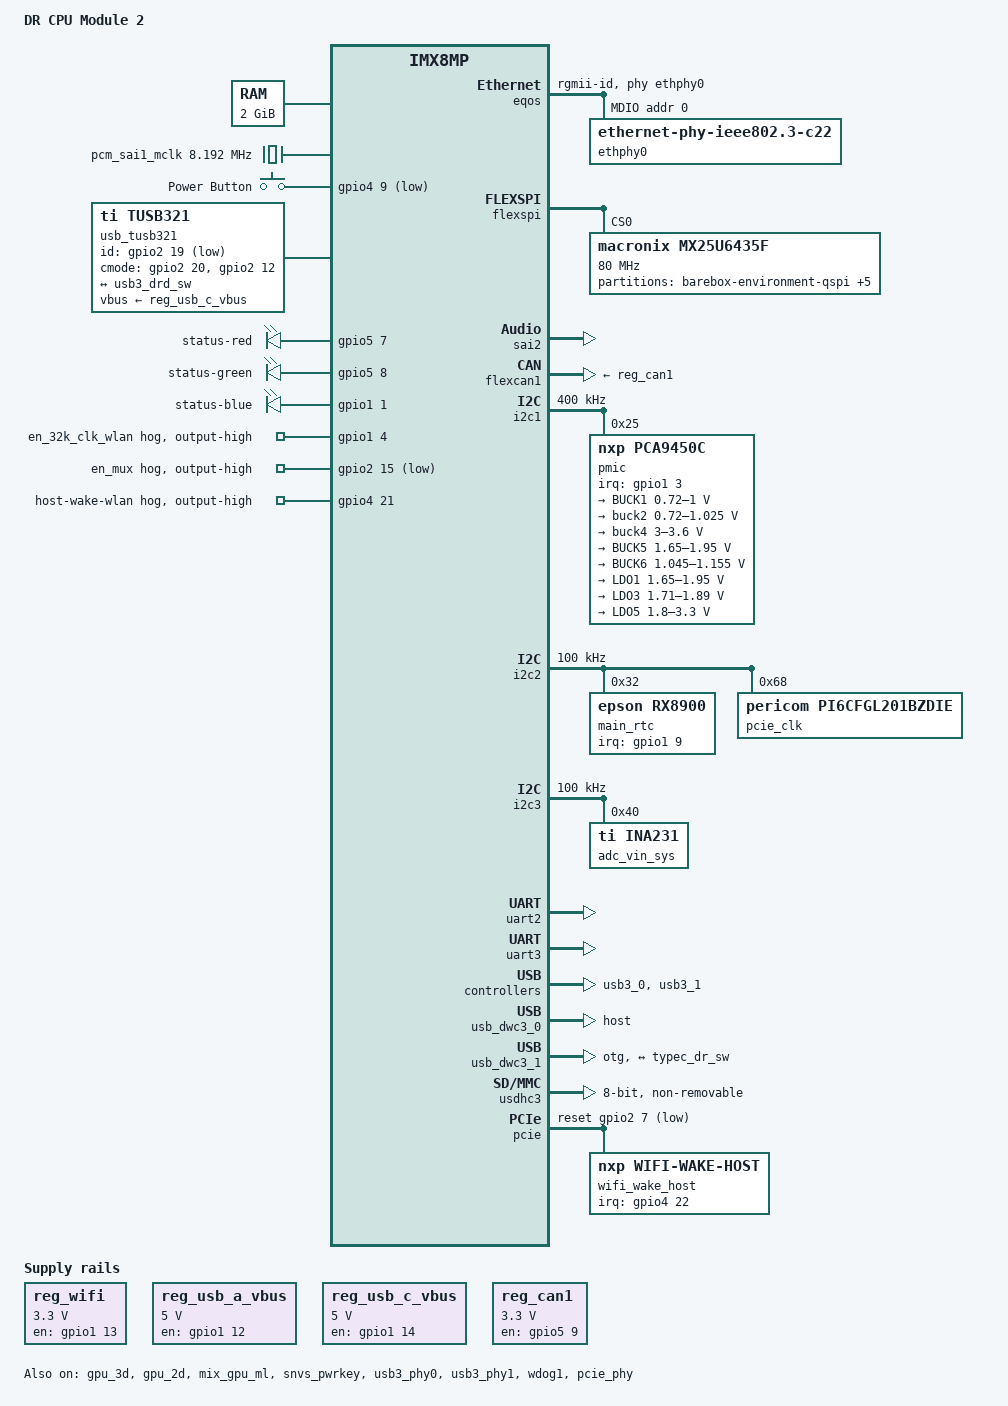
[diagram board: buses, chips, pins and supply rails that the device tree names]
/*
 * Copyright DATA RESPONS AS
 *
 * The code contained herein is licensed under the GNU General Public
 * License. You may obtain a copy of the GNU General Public License
 * Version 2 or later at the following locations:
 *
 * http://www.opensource.org/licenses/gpl-license.html
 * http://www.gnu.org/copyleft/gpl.html
 */
/dts-v1/;

#include <dt-bindings/input/input.h>
#include <dt-bindings/gpio/gpio.h>
#include <dt-bindings/usb/pd.h>
#include "imx8mp.dtsi"

/ {
	model = "DR CPU Module 2";
	compatible = "datarespons,cpum2", "fsl,imx8mp";

	aliases {
		mmc0 = &usdhc3;
		ethernet0 = &eqos;
		rtc0 = &main_rtc;
		rtc1 = &snvs_rtc;
		btserial = "ttymxc2";
	};

	chosen {
		stdout-path = &uart2;
	};

	memory@40000000 {
		device_type = "memory";
		reg = <0x0 0x40000000 0 0x80000000>; 	/* 2 GB DDR */
	};


   clocks {
		wlan_clk: clock@1 {
		#clock-cells = <0>;
            compatible = "fixed-clock";
            clock-output-names = "slp-clk";
            clock-frequency = <32768>;
            gpio = <&gpio1 4 0>; // EN_32KO-RTC
        };

		pcm_sai1_mclk: sai-mclk1 {
			compatible = "fixed-clock";
			#clock-cells = <0>;
			clock-frequency= <8192000>;
			clock-output-names = "sai1_mclk";
		};
	};

	regulators {
		compatible = "simple-bus";
		reg_wifi: wifi_pwr {
			compatible = "regulator-fixed";
			regulator-name = "reg_wifi";
			regulator-min-microvolt = <3300000>;
			regulator-max-microvolt = <3300000>;
			gpio = <&gpio1 13 0>; /* PMIC_EN-WLAN */
			enable-active-high;
			regulator-always-on;
		};

		reg_usb_a_vbus: usb_a_vbus {
			compatible = "regulator-fixed";
			pinctrl-0 = <&pinctrl_usb0_vbus>;
			regulator-name = "reg_usb_a_vbus";
			regulator-min-microvolt = <5000000>;
			regulator-max-microvolt = <5000000>;
			gpio = <&gpio1 12 GPIO_ACTIVE_HIGH>;
			enable-active-high;
			regulator-always-on;
		};

		reg_usb_c_vbus: usb_c_vbus {
			compatible = "regulator-fixed";
			regulator-name = "reg_usb_c_vbus";
			regulator-min-microvolt = <5000000>;
			regulator-max-microvolt = <5000000>;
			gpio = <&gpio1 14 GPIO_ACTIVE_HIGH>; /* EN-USBC_Vbus_5V */
			enable-active-high;
		};

		reg_can1: regulator-can1 {
			compatible = "regulator-fixed";
			regulator-name = "can1-power";
			pinctrl-names = "default";
			regulator-min-microvolt = <3300000>;
			regulator-max-microvolt = <3300000>;
			gpio = <&gpio5 9 GPIO_ACTIVE_HIGH>;
			enable-active-high;
			regulator-always-on;
		};
	};

	gpio-keys {
		compatible = "gpio-keys";
		power {
			label = "Power Button";
			gpios = <&gpio4 9 GPIO_ACTIVE_LOW>;
			linux,code = <KEY_POWER>; /* KEY_POWER */
			gpio-key,wakeup;
		};
	};

	usb_tusb321 {
		compatible = "ti,tusb321";
		pinctrl-names = "default";
		pinctrl-0 = <&pinctrl_tusb321>, <&pinctrl_typec_mux>;
		id-gpio = <&gpio2 19 GPIO_ACTIVE_LOW>;
		cmode-gpios = <&gpio2 20 GPIO_ACTIVE_HIGH>, <&gpio2 12 GPIO_ACTIVE_HIGH>;
		vbus-supply = <&reg_usb_c_vbus>;

		port {
			typec_dr_sw: endpoint {
				remote-endpoint = <&usb3_drd_sw>;
			};
		};
	};

	leds {
		compatible = "gpio-leds";
		pinctrl-0 = <&pinctrl_gpio_led>;
		pinctrl-names = "default";
		status-red {
			gpios = <&gpio5 7 GPIO_ACTIVE_HIGH>;
			default-state = "off";
		};

		status-green {
			gpios = <&gpio5 8 GPIO_ACTIVE_HIGH>;
			default-state = "on";
			linux,default-trigger = "timer";
		};

		status-blue {
			gpios = <&gpio1 1 GPIO_ACTIVE_HIGH>;
			default-state = "off";
		};
	};
};

&A53_0 {
	cpu-supply = <&buck2>;
};

&A53_1 {
	cpu-supply = <&buck2>;
};

&A53_2 {
	cpu-supply = <&buck2>;
};

&A53_3 {
	cpu-supply = <&buck2>;
};

&gpu_3d {
	status = "okay";
};

&gpu_2d {
	status = "okay";
};

&mix_gpu_ml {
	status = "okay";
};

&snvs_pwrkey {
	status = "okay";
};

&gpio1 {
	gpio-line-names = "", "", "", "", "en-slow-clk-wlan", "", "", "",
						"can1-sdn", "", "", "", "", "pmic-enable-wlan", "", "can1-stb";

	en_32k_clk_wlan {
		gpio-hog;
		gpios = <4 GPIO_ACTIVE_HIGH>;
		output-high;
	};
};

&gpio2 {
	en_mux {
		gpio-hog;
		gpios = <15 GPIO_ACTIVE_LOW>;
		output-high;
	};
};

&gpio3 {
	gpio-line-names = "", "", "", "", "", "", "", "",
						"spinor-wp", "", "", "", "", "", "", "";
};

&gpio4 {
	gpio-line-names = "", "", "", "", "", "", "", "",
						"", "", "", "", "", "", "", "",
						"", "hwrev0", "hwrev1", "hwrev2", "", "host-wake-wlan", "wlan-wake-host", "",
						"", "", "", "", "", "", "", "";

	host-wake-wlan {
		gpio-hog;
		gpios = <21 GPIO_ACTIVE_HIGH>;
		output-high;
	};
};

&gpio5 {
	gpio-line-names = "", "", "", "bt-wake-host", "host-wake-bt", "", "", "",
						"", "can-vbus", "", "", "", "", "", "",
						"", "", "", "", "pcie-clkreqn", "", "", "";
};


&eqos {
	pinctrl-names = "default";
	pinctrl-0 = <&pinctrl_eqos>;
	phy-mode = "rgmii-id";
	phy-handle = <&ethphy0>;
	snps,force_thresh_dma_mode;
	status = "okay";
	snps,reset-gpios = <&gpio2 14 GPIO_ACTIVE_LOW>; /* ETHPHY_nRST */
	snps,reset-delays-us = <0 10000 30000>;

	mdio {
		compatible = "snps,dwmac-mdio";
		#address-cells = <1>;
		#size-cells = <0>;

		ethphy0: ethernet-phy@0 {
			compatible = "ethernet-phy-ieee802.3-c22";
			max-speed = <100>;
			reg = <0>;
		};
	};
};

&flexspi {
	pinctrl-names = "default";
	pinctrl-0 = <&pinctrl_flexspi0>;
	status = "okay";

	mx25u6435f: flash@0 { /* MX25U6432FM2I02 (64 Mbit) */
		reg = <0>;
		#address-cells = <1>;
		#size-cells = <1>;
		compatible = "macronix,mx25u6435f", "jedec,spi-nor";
		spi-max-frequency = <80000000>;
		spi-tx-bus-width = <1>;
		spi-rx-bus-width = <4>;
		spi-nor,ddr-quad-read-dummy = <6>;

	};
};

&mx25u6435f {
	partitions {
		compatible = "fixed-partitions";
		#address-cells = <1>;
		#size-cells = <1>;

		partition@0 {
			label = "barebox-environment-qspi";
			reg = <0x0 0x40000>;
		};

		backend_state_qspi: state@40000 {
			label = "barebox-state";
			reg = <0x40000 0xc0000>;
		};

		partition@100000 {
			label = "system_a";
			reg = <0x100000 0x40000>;
		};
		partition@140000 {
			label = "system_b";
			reg = <0x140000 0x40000>;
		};

		partition@180000 {
			label = "user_a";
			reg = <0x180000 0x40000>;
		};
		partition@1c0000 {
			label = "user_b";
			reg = <0x1c0000 0x40000>;
		};
	};
};

&sai2 {
	#sound-dai-cells = <0>;
	pinctrl-names = "default";
	pinctrl-0 = <&pinctrl_sai2>;
	assigned-clocks = <&clk IMX8MP_CLK_SAI2>;
	assigned-clock-parents = <&clk IMX8MP_AUDIO_PLL1_OUT>;
	assigned-clock-rates = <12288000>;
	status = "okay";
};

&flexcan1 {
	pinctrl-names = "default";
	pinctrl-0 = <&pinctrl_flexcan1>;
	xceiver-supply = <&reg_can1>;
	status = "okay";
	termination-gpios = <&gpio1 7 GPIO_ACTIVE_HIGH>;
    termination-ohms = <60>;
};

&i2c1 { /* PMIC PCA9450CHNY */
	clock-frequency = <400000>;
	pinctrl-names = "default";
	pinctrl-0 = <&pinctrl_i2c1>;
	status = "okay";

	pmic: pca9450@25 {
		compatible = "nxp,pca9450c";
		reg = <0x25>;
		pinctrl-names = "default";
		pinctrl-0 = <&pinctrl_pmic>;
		interrupt-parent = <&gpio1>;
		interrupts = <3 IRQ_TYPE_LEVEL_LOW>;

		regulators {
			BUCK1 {
				regulator-name = "BUCK1";
				regulator-min-microvolt = <720000>;
				regulator-max-microvolt = <1000000>;
				regulator-boot-on;
				regulator-always-on;
				regulator-ramp-delay = <3125>;
			};

			buck2: BUCK2 {
				regulator-name = "BUCK2";
				regulator-min-microvolt = <720000>;
				regulator-max-microvolt = <1025000>;
				regulator-boot-on;
				regulator-always-on;
				regulator-ramp-delay = <3125>;
				nxp,dvs-run-voltage = <950000>;
				nxp,dvs-standby-voltage = <850000>;
			};

			buck4: BUCK4 {
				regulator-name = "BUCK4";
				regulator-min-microvolt = <3000000>;
				regulator-max-microvolt = <3600000>;
				regulator-boot-on;
				regulator-always-on;
			};

			BUCK5 {
				regulator-name = "BUCK5";
				regulator-min-microvolt = <1650000>;
				regulator-max-microvolt = <1950000>;
				regulator-boot-on;
				regulator-always-on;
			};

			BUCK6 {
				regulator-name = "BUCK6";
				regulator-min-microvolt = <1045000>;
				regulator-max-microvolt = <1155000>;
				regulator-boot-on;
				regulator-always-on;
			};

			LDO1 {
				regulator-name = "LDO1";
				regulator-min-microvolt = <1650000>;
				regulator-max-microvolt = <1950000>;
				regulator-boot-on;
				regulator-always-on;
			};

			LDO3 {
				regulator-name = "LDO3";
				regulator-min-microvolt = <1710000>;
				regulator-max-microvolt = <1890000>;
				regulator-boot-on;
				regulator-always-on;
			};

			LDO5 {
				regulator-name = "LDO5";
				regulator-min-microvolt = <1800000>;
				regulator-max-microvolt = <3300000>;
				regulator-boot-on;
				regulator-always-on;
			};
		};
	};
};

&i2c2 {
	clock-frequency = <100000>;
	pinctrl-names = "default";
	pinctrl-0 = <&pinctrl_i2c2>;
	status = "okay";

	main_rtc: rtc-rx8900@32 {
		compatible = "epson,rx8900";
		reg = <0x32>;
		interrupt-parent = <&gpio1>;
		interrupts = <9 IRQ_TYPE_LEVEL_LOW>;
	};

	pcie_clk: pi6cfgl201bzdie@68 {
		compatible = "pericom,pi6cfgl201bzdie";
		reg = <0x68>;
	};
};

&i2c3 {
	clock-frequency = <100000>;
	pinctrl-names = "default";
	pinctrl-0 = <&pinctrl_i2c3>;
	status = "okay";

	adc_vin_sys: ina231@40 {
		compatible = "ti,ina231";
		reg = <0x40>;
		shunt-resistor = <10000>;  // TODO: Find value
	};
};

&uart2 {
	pinctrl-names = "default";
	pinctrl-0 = <&pinctrl_uart2>;
	status = "okay";
};

&uart3 {
	pinctrl-names = "default";
	pinctrl-0 = <&pinctrl_uart3>;
	assigned-clocks = <&clk IMX8MP_CLK_UART3>;
	assigned-clock-parents = <&clk IMX8MP_SYS_PLL1_80M>;
	fsl,uart-has-rtscts;
	status = "okay";
};

/* USB A */
&usb3_phy0 {
	vbus-supply = <&reg_usb_a_vbus>;
	status = "okay";
};

&usb3_0 {
	status = "okay";
};

&usb_dwc3_0 {
	dr_mode = "host";
	hnp-disable;
	srp-disable;
	adp-disable;
	snps,dis-u1-entry-quirk;
	snps,dis-u2-entry-quirk;
	status = "okay";
};

/* USB-C */
&usb3_phy1 {
	fsl,phy-tx-vref-tune = <0xe>;
	fsl,phy-tx-preemp-amp-tune = <3>;
	fsl,phy-tx-vboost-level = <5>;
	fsl,phy-comp-dis-tune = <7>;
	fsl,pcs-tx-deemph-3p5db = <0x21>;
	fsl,phy-pcs-tx-swing-full = <0x7f>;
	status = "okay";
};

&usb3_1 {
	status = "okay";
};

&usb_dwc3_1 {
	dr_mode = "otg";
	hnp-disable;
	srp-disable;
	adp-disable;
	usb-role-switch;
	role-switch-default-mode = "device";
	snps,dis-u1-entry-quirk;
	snps,dis-u2-entry-quirk;
	status = "okay";

	port {
		usb3_drd_sw: endpoint {
			remote-endpoint = <&typec_dr_sw>;
		};
	};
};


&usdhc2 {
	status = "disabled";
};

&usdhc3 {
	assigned-clocks = <&clk IMX8MP_CLK_USDHC3>;
	assigned-clock-rates = <400000000>;
	pinctrl-names = "default", "state_100mhz", "state_200mhz";
	pinctrl-0 = <&pinctrl_usdhc3>;
	pinctrl-1 = <&pinctrl_usdhc3_100mhz>;
	pinctrl-2 = <&pinctrl_usdhc3_200mhz>;
	bus-width = <8>;
	non-removable;
	status = "okay";
};

&usdhc3 {
	partitions {
		compatible = "fixed-partitions";
		#size-cells = <1>;
		#address-cells = <1>;

		partition@0 {
			label = "barebox";
			reg = <0x0 0xe0000>;
		};

		partition@e0000 {
			label = "barebox-environment";
			reg = <0xe0000 0x20000>;
		};

		backend_state_usdhc: partition@100000 {
			reg = <0x100000 0x100000>;
			label = "state-emmc";
		};
	};
};

&wdog1 {
	pinctrl-names = "default";
	pinctrl-0 = <&pinctrl_wdog>;
	fsl,ext-reset-output;
	status = "okay";
};


&pcie {
	pinctrl-names = "default";
	pinctrl-0 = <&pinctrl_pcie0 &pinctrl_wifi1>;
	disable-gpio = <&gpio2 6 GPIO_ACTIVE_LOW>;
	reset-gpio = <&gpio2 7 GPIO_ACTIVE_LOW>;
	wake-gpio = <&gpio5 21 GPIO_ACTIVE_LOW>;
	ext_osc = <1>;
	clkreq-gpio = <&gpio5 20 GPIO_ACTIVE_LOW>;
	clocks = <&clk IMX8MP_CLK_HSIO_ROOT>,
		 <&clk IMX8MP_CLK_PCIE_AUX>,
		 <&clk IMX8MP_CLK_HSIO_AXI>,
		 <&clk IMX8MP_CLK_PCIE_ROOT>;
	clock-names = "pcie", "pcie_aux", "pcie_phy", "pcie_bus";
	assigned-clocks = <&clk IMX8MP_CLK_HSIO_AXI>,
			  <&clk IMX8MP_CLK_PCIE_AUX>;
	assigned-clock-rates = <500000000>, <10000000>;
	assigned-clock-parents = <&clk IMX8MP_SYS_PLL2_500M>,
				 <&clk IMX8MP_SYS_PLL2_50M>;
	l1ss-disabled;
	status = "okay";

	wifi_wake_host {
		compatible = "nxp,wifi-wake-host";
		interrupt-parent = <&gpio4>;
		interrupts = <22 IRQ_TYPE_LEVEL_LOW>;
		interrupt-names = "host-wake";
	};
};

&pcie_phy{
	ext_osc = <1>;
	status = "okay";
};

/* PAD defs for IMX8MP
BIT8: PULL Enable=1
BIT7: HYS Shmitt=1
BIT6: PUE Down=0, Up=1
BIT5: ODE
BIT4: SLEW Fast=1
BIT2:1 STRENGTH x1,x2,x4,x6
*/

&iomuxc {
	pinctrl-names = "default";
	pinctrl-0 = <&pinctrl_hog>;

	pinctrl_hog: hoggrp {
		fsl,pins = <
			MX8MP_IOMUXC_GPIO1_IO04__GPIO1_IO04			0x142		/* EN_32KO-RTC (WLAN SLP_CLK-WLAN)*/
			MX8MP_IOMUXC_GPIO1_IO09__GPIO1_IO09			0x1c0		/* nINT-RTC_A */
			MX8MP_IOMUXC_GPIO1_IO13__GPIO1_IO13			0x106		/* PMIC_EN-WLAN */
			MX8MP_IOMUXC_GPIO1_IO14__GPIO1_IO14			0x106		/* EN-USBC_Vbus_5V */

			MX8MP_IOMUXC_ECSPI1_SS0__GPIO5_IO09         0x106		/* EN-VBUS_CAN */

			MX8MP_IOMUXC_SAI1_RXD6__GPIO4_IO08			0x080		/* DC_IN_nFLG_R */
			MX8MP_IOMUXC_SAI1_RXD7__GPIO4_IO09			0x180		/* Key_nPOWER */
			MX8MP_IOMUXC_SAI1_TXD5__GPIO4_IO17			0x00		/* HW_Setting_0 */
			MX8MP_IOMUXC_SAI1_TXD6__GPIO4_IO18			0x00		/* HW_Setting_1 */
			MX8MP_IOMUXC_SAI1_TXD7__GPIO4_IO19			0x00		/* HW_Setting_2 */

			MX8MP_IOMUXC_SAI5_RXD3__GPIO3_IO24			0x106		/* EN_PWR-ENET_A */
			MX8MP_IOMUXC_SD2_DATA3__GPIO2_IO18			0x080		/* VCONN_nFAULT */

			MX8MP_IOMUXC_SPDIF_RX__GPIO5_IO04			0x142		/* HOST_WAKEUP_BT, PU */
			MX8MP_IOMUXC_SPDIF_TX__GPIO5_IO03			0x180		/* BT_WAKEUP_HOST, PD */
		>;
	};

	pinctrl_tusb321: tusb321grp {
		fsl,pins = <
			MX8MP_IOMUXC_SD2_RESET_B__GPIO2_IO19		0x00 		/* OTG_ID */
			MX8MP_IOMUXC_SD2_WP__GPIO2_IO20				0x80		/* OUT1 */
			MX8MP_IOMUXC_SD2_CD_B__GPIO2_IO12			0x80		/* OUT2 */
		>;
	};

	pinctrl_eqos: eqosgrp {
		fsl,pins = <
			MX8MP_IOMUXC_ENET_MDC__ENET_QOS_MDC					0x3
			MX8MP_IOMUXC_ENET_MDIO__ENET_QOS_MDIO				0x3
			MX8MP_IOMUXC_ENET_RD0__ENET_QOS_RGMII_RD0			0x91
			MX8MP_IOMUXC_ENET_RD1__ENET_QOS_RGMII_RD1			0x91
			MX8MP_IOMUXC_ENET_RD2__ENET_QOS_RGMII_RD2			0x91
			MX8MP_IOMUXC_ENET_RD3__ENET_QOS_RGMII_RD3			0x91
			MX8MP_IOMUXC_ENET_RXC__CCM_ENET_QOS_CLOCK_GENERATE_RX_CLK	0x91
			MX8MP_IOMUXC_ENET_RX_CTL__ENET_QOS_RGMII_RX_CTL		0x91
			MX8MP_IOMUXC_ENET_TD0__ENET_QOS_RGMII_TD0			0x1f
			MX8MP_IOMUXC_ENET_TD1__ENET_QOS_RGMII_TD1			0x1f
			MX8MP_IOMUXC_ENET_TD2__ENET_QOS_RGMII_TD2			0x1f
			MX8MP_IOMUXC_ENET_TD3__ENET_QOS_RGMII_TD3			0x1f
			MX8MP_IOMUXC_ENET_TX_CTL__ENET_QOS_RGMII_TX_CTL		0x1f
			MX8MP_IOMUXC_ENET_TXC__CCM_ENET_QOS_CLOCK_GENERATE_TX_CLK	0x1f
			MX8MP_IOMUXC_SD2_CLK__GPIO2_IO13 					0x002 	/*nINT_ENET_A*/
			MX8MP_IOMUXC_SD2_CMD__GPIO2_IO14					0x002 	/*ETHPHY_nRST*/
		>;
	};

	pinctrl_pcie0: pcie0grp {
		fsl,pins = <
			MX8MP_IOMUXC_SD1_DATA5__GPIO2_IO07			0x1c4	   	/* PCIE_PERST */
			MX8MP_IOMUXC_SD1_DATA4__GPIO2_IO06			0x1c4	   	/* W_DISABLE */
			MX8MP_IOMUXC_I2C4_SDA__GPIO5_IO21			0x1c0 		/* PCIE_WAKE_N */
			MX8MP_IOMUXC_I2C4_SCL__GPIO5_IO20			0x1c0 		/* PCIE_CLKREQ_N */
		>;
	};

	pinctrl_typec_mux: typec1muxgrp {
		fsl,pins = <
			MX8MP_IOMUXC_SD2_DATA0__GPIO2_IO15	0x101	/* EN-USB3C_MUX */
			MX8MP_IOMUXC_SD2_DATA1__GPIO2_IO16	0x140	/* SS_SEL-USB3c_MUX, tied with DIR-TypeC_CC */
			MX8MP_IOMUXC_SD2_DATA2__GPIO2_IO17	0x140	/* Tied with DIR-TypeC_CC */
		>;
	};
	pinctrl_wifi1: wifi1grp {
		fsl,pins = <
			MX8MP_IOMUXC_SAI2_RXFS__GPIO4_IO21		0x142	/* HOST_WAKEUP_WLAN */
			MX8MP_IOMUXC_SAI2_RXC__GPIO4_IO22		0x1C0	/* WLAN_WAKEUP_HOST */
		>;
	};

	pinctrl_i2c1: i2c1grp {
		fsl,pins = <
			MX8MP_IOMUXC_I2C1_SCL__I2C1_SCL		0x400001c2
			MX8MP_IOMUXC_I2C1_SDA__I2C1_SDA		0x400001c2
		>;
	};

	pinctrl_i2c2: i2c2grp {
		fsl,pins = <
			MX8MP_IOMUXC_I2C2_SCL__I2C2_SCL		0x400001c2
			MX8MP_IOMUXC_I2C2_SDA__I2C2_SDA		0x400001c2
		>;
	};

	pinctrl_i2c3: i2c3grp {
		fsl,pins = <
			MX8MP_IOMUXC_I2C3_SCL__I2C3_SCL		0x400001c2
			MX8MP_IOMUXC_I2C3_SDA__I2C3_SDA		0x400001c2
		>;
	};

	pinctrl_pmic: pmicgrp {
		fsl,pins = <
			MX8MP_IOMUXC_GPIO1_IO03__GPIO1_IO03	0x000001c0
		>;
	};

	pinctrl_uart2: uart2grp {
		fsl,pins = <
			MX8MP_IOMUXC_UART2_RXD__UART2_DCE_RX	0x102
			MX8MP_IOMUXC_UART2_TXD__UART2_DCE_TX	0x102
		>;
	};

	/* UART BT */
	pinctrl_uart3: uart3grp {
		fsl,pins = <
			MX8MP_IOMUXC_SD1_DATA6__UART3_DCE_TX		0x16
			MX8MP_IOMUXC_SD1_DATA7__UART3_DCE_RX		0x16
			MX8MP_IOMUXC_SD1_RESET_B__UART3_DCE_RTS		0x16
			MX8MP_IOMUXC_SD1_STROBE__UART3_DCE_CTS		0x16
		>;
	};

	pinctrl_usb0_vbus: usba-vbusgrp {
		fsl,pins = <
			MX8MP_IOMUXC_GPIO1_IO12__USB1_PWR		0x106 /*EN-USBA_Vbus_5V*/
		>;
	};

	pinctrl_usdhc3: usdhc3grp { /* EMMC eMMC16G-TB28-A20 */
		fsl,pins = <
			MX8MP_IOMUXC_NAND_WE_B__USDHC3_CLK		0x192 /*SD3_CLK*/
			MX8MP_IOMUXC_NAND_WP_B__USDHC3_CMD		0x1d2 /*SD3_CMD*/
			MX8MP_IOMUXC_NAND_DATA04__USDHC3_DATA0	0x1d2 /*SD3_DATA0*/
			MX8MP_IOMUXC_NAND_DATA05__USDHC3_DATA1	0x1d2 /*SD3_DATA1*/
			MX8MP_IOMUXC_NAND_DATA06__USDHC3_DATA2	0x1d2 /*SD3_DATA2*/
			MX8MP_IOMUXC_NAND_DATA07__USDHC3_DATA3	0x1d2 /*SD3_DATA3*/
			MX8MP_IOMUXC_NAND_RE_B__USDHC3_DATA4	0x1d2 /*SD3_DATA4*/
			MX8MP_IOMUXC_NAND_CE2_B__USDHC3_DATA5	0x1d2 /*SD3_DATA5*/
			MX8MP_IOMUXC_NAND_CE3_B__USDHC3_DATA6	0x1d2 /*SD3_DATA6*/
			MX8MP_IOMUXC_NAND_CLE__USDHC3_DATA7		0x1d2 /*SD3_DATA7*/
			MX8MP_IOMUXC_NAND_CE1_B__USDHC3_STROBE	0x192 /* SD3_STROBE*/
		>;
	};

	pinctrl_usdhc3_100mhz: usdhc3-100mhzgrp {
		fsl,pins = <
			MX8MP_IOMUXC_NAND_WE_B__USDHC3_CLK		0x194 /*SD3_CLK*/
			MX8MP_IOMUXC_NAND_WP_B__USDHC3_CMD		0x1d4 /*SD3_CMD*/
			MX8MP_IOMUXC_NAND_DATA04__USDHC3_DATA0	0x1d4 /*SD3_DATA0*/
			MX8MP_IOMUXC_NAND_DATA05__USDHC3_DATA1	0x1d4 /*SD3_DATA1*/
			MX8MP_IOMUXC_NAND_DATA06__USDHC3_DATA2	0x1d4 /*SD3_DATA2*/
			MX8MP_IOMUXC_NAND_DATA07__USDHC3_DATA3	0x1d4 /*SD3_DATA3*/
			MX8MP_IOMUXC_NAND_RE_B__USDHC3_DATA4	0x1d4 /*SD3_DATA4*/
			MX8MP_IOMUXC_NAND_CE2_B__USDHC3_DATA5	0x1d4 /*SD3_DATA5*/
			MX8MP_IOMUXC_NAND_CE3_B__USDHC3_DATA6	0x1d4 /*SD3_DATA6*/
			MX8MP_IOMUXC_NAND_CLE__USDHC3_DATA7		0x1d4 /*SD3_DATA7*/
			MX8MP_IOMUXC_NAND_CE1_B__USDHC3_STROBE	0x194 /* SD3_STROBE*/
		>;
	};

	pinctrl_usdhc3_200mhz: usdhc3-200mhzgrp {
		fsl,pins = <
			MX8MP_IOMUXC_NAND_WE_B__USDHC3_CLK		0x196 /*SD3_CLK*/
			MX8MP_IOMUXC_NAND_WP_B__USDHC3_CMD		0x1d6 /*SD3_CMD*/
			MX8MP_IOMUXC_NAND_DATA04__USDHC3_DATA0	0x1d6 /*SD3_DATA0*/
			MX8MP_IOMUXC_NAND_DATA05__USDHC3_DATA1	0x1d6 /*SD3_DATA1*/
			MX8MP_IOMUXC_NAND_DATA06__USDHC3_DATA2	0x1d6 /*SD3_DATA2*/
			MX8MP_IOMUXC_NAND_DATA07__USDHC3_DATA3	0x1d6 /*SD3_DATA3*/
			MX8MP_IOMUXC_NAND_RE_B__USDHC3_DATA4	0x1d6 /*SD3_DATA4*/
			MX8MP_IOMUXC_NAND_CE2_B__USDHC3_DATA5	0x1d6 /*SD3_DATA5*/
			MX8MP_IOMUXC_NAND_CE3_B__USDHC3_DATA6	0x1d6 /*SD3_DATA6*/
			MX8MP_IOMUXC_NAND_CLE__USDHC3_DATA7		0x1d6 /*SD3_DATA7*/
			MX8MP_IOMUXC_NAND_CE1_B__USDHC3_STROBE	0x196 /* SD3_STROBE*/
		>;
	};

	pinctrl_sai2: sai2grp {
		fsl,pins = <
			MX8MP_IOMUXC_SAI2_RXD0__AUDIOMIX_SAI2_RX_DATA00		0xd6 /*SAI2_RXD0 - BT_PCM_DIN*/
			MX8MP_IOMUXC_SAI2_TXC__AUDIOMIX_SAI2_TX_BCLK		0xd6 /*SAI2_TXC - BT_PCM_CLK*/
			MX8MP_IOMUXC_SAI2_TXD0__AUDIOMIX_SAI2_TX_DATA00		0xd6 /*SAI2_TXD0 - BT_PCM_SDOUT*/
			MX8MP_IOMUXC_SAI2_TXFS__AUDIOMIX_SAI2_TX_SYNC		0xd6 /*SAI2_TXFS - BT_PCM_SYNC*/
		>;
	};

	pinctrl_wdog: wdoggrp {
		fsl,pins = <
			MX8MP_IOMUXC_GPIO1_IO02__WDOG1_WDOG_B	0xc6
		>;
	};

	pinctrl_flexspi0: flexspi0grp {
		fsl,pins = <
			MX8MP_IOMUXC_NAND_ALE__FLEXSPI_A_SCLK           0x1c2
			MX8MP_IOMUXC_NAND_CE0_B__FLEXSPI_A_SS0_B        0x82
			MX8MP_IOMUXC_NAND_DATA00__FLEXSPI_A_DATA00      0x82
			MX8MP_IOMUXC_NAND_DATA01__FLEXSPI_A_DATA01      0x82
			MX8MP_IOMUXC_NAND_DATA02__FLEXSPI_A_DATA02      0x82
			MX8MP_IOMUXC_NAND_DATA03__FLEXSPI_A_DATA03      0x82
		>;
	};

	pinctrl_gpio_led: gpioledgrp {
		fsl,pins = <
			MX8MP_IOMUXC_ECSPI1_MOSI__GPIO5_IO07	0x104	/* LED R */
			MX8MP_IOMUXC_ECSPI1_MISO__GPIO5_IO08	0x104	/* LED G */
			MX8MP_IOMUXC_GPIO1_IO01__GPIO1_IO01		0x104	/* LED B */
		>;
	};

	pinctrl_flexcan1: flexcan1grp {
		fsl,pins = <
			MX8MP_IOMUXC_SAI5_RXD2__CAN1_RX			0x080
			MX8MP_IOMUXC_SAI5_RXD1__CAN1_TX			0x154
			MX8MP_IOMUXC_GPIO1_IO07__GPIO1_IO07		0x104 	/* EN-CAN1_TERMINAL */
			MX8MP_IOMUXC_GPIO1_IO15__GPIO1_IO15		0x004	/* CAN1_STBY */
			MX8MP_IOMUXC_GPIO1_IO08__GPIO1_IO08		0x004	/* SHDN-CAN1 */
		>;
	};
};
